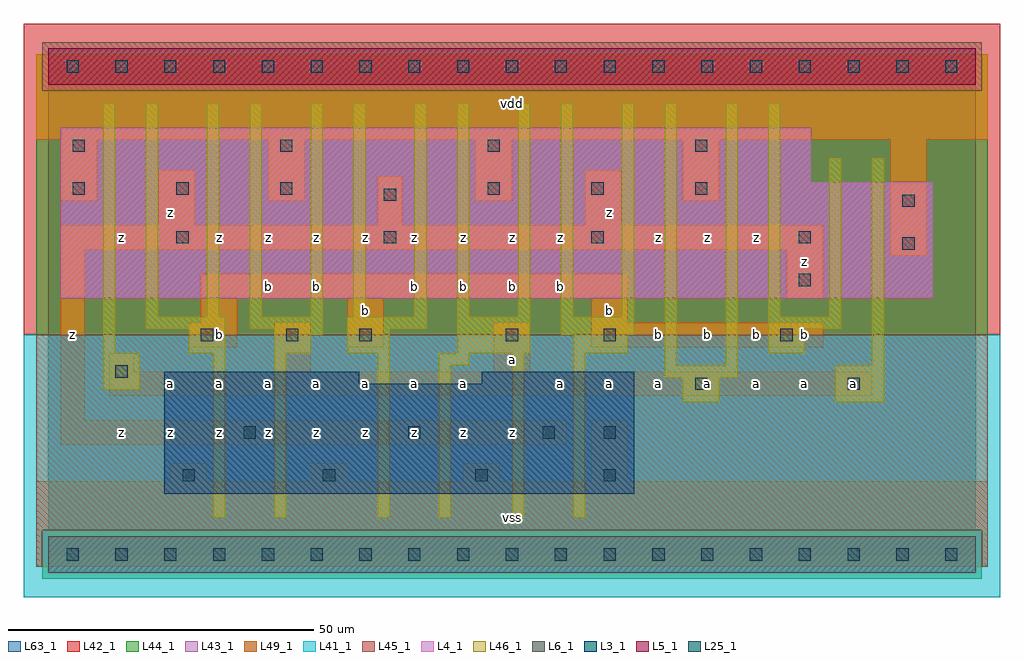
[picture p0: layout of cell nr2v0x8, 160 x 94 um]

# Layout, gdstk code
import gdstk
lib = gdstk.Library(unit=1e-6, precision=1e-09)
def R(c, l, rs):  # rectangles x0, y0, x1, y1
    for r in rs: c.add(gdstk.rectangle(r[:2], r[2:], *l))
def A(c, l, x, y, w, h, nx, ny, dx, dy):  # array of equal rectangles
    R(c, l, [(x+i*dx, y+j*dy, x+i*dx+w, y+j*dy+h) for i in range(nx) for j in range(ny)])
L3_1 = (3, 1)
L4_1 = (4, 1)
L5_1 = (5, 1)
L6_1 = (6, 1)
L25_1 = (25, 1)
L41_1 = (41, 1)
L42_1 = (42, 1)
L43_1 = (43, 1)
L44_1 = (44, 1)
L45_1 = (45, 1)
L46_1 = (46, 1)
L49_1 = (49, 1)
L63_1 = (63, 1)

nr2v0x8 = lib.new_cell('nr2v0x8')
R(nr2v0x8, L3_1, [(19,10,96,28), (19,28,51,30), (71,28,96,30)])
R(nr2v0x8, L4_1, [(2,42,145,61), (2,61,125,70)])
R(nr2v0x8, L5_1, [(0,77,152,83)])
R(nr2v0x8, L6_1, [(0,-3,152,3), (0,-3,152,3)])
A(nr2v0x8, L25_1, 3, -1, 2, 2, 19, 2, 8, 80)
A(nr2v0x8, L25_1, 21, 51, 2, 2, 4, 1, 34, 0)
A(nr2v0x8, L25_1, 4, 59, 2, 2, 3, 1, 17, 0)
A(nr2v0x8, L25_1, 72, 59, 2, 2, 3, 1, 17, 0)
A(nr2v0x8, L25_1, 4, 66, 2, 2, 4, 1, 34, 0)
R(nr2v0x8, L25_1, [(22,12,24,14), (45,12,47,14), (70,12,72,14), (91,12,93,14), (32,19,34,21), (59,19,61,21), (81,19,83,21), (91,19,93,21), (106,27,108,29), (131,27,133,29), (11,29,13,31), (25,35,27,37), (39,35,41,37), (51,35,53,37), (75,35,77,37), (91,35,93,37), (120,35,122,37), (123,44,125,46), (140,50,142,52), (140,57,142,59), (55,58,57,60)])
R(nr2v0x8, L41_1, [(-4,-7,156,36)])
R(nr2v0x8, L42_1, [(-4,36,156,87)])
R(nr2v0x8, L43_1, [(0,-3,152,3), (19,10,96,28), (19,28,51,30), (71,28,96,30), (2,42,145,61), (2,61,125,70), (0,77,152,83)])
R(nr2v0x8, L44_1, [(-1,-4,153,4), (-2,36,154,76), (-2,76,-1,82), (153,76,154,82)])
R(nr2v0x8, L45_1, [(-2,-2,-1,4), (153,-2,154,4), (-2,4,154,36), (-1,76,153,84)])
R(nr2v0x8, L46_1, [(27,6,29,33), (37,6,39,33), (54,6,56,33), (64,6,66,31), (76,6,78,33), (86,6,88,33), (104,25,110,29), (129,25,137,31), (9,27,15,33), (101,29,113,31), (64,31,69,33), (101,31,103,74), (111,31,113,74), (135,31,137,65), (9,33,11,74), (23,33,29,37), (37,33,43,36), (49,33,56,37), (67,33,79,39), (86,33,95,36), (118,33,124,37), (37,36,45,37), (84,36,96,39), (16,37,29,39), (33,37,45,39), (49,37,62,39), (118,37,130,39), (16,39,18,74), (26,39,28,74), (33,39,35,74), (43,39,45,74), (50,39,52,74), (60,39,62,74), (67,39,69,74), (77,39,79,74), (84,39,86,74), (94,39,96,74), (118,39,120,74), (128,39,130,65)])
A(nr2v0x8, L49_1, 2, 58, 6, 10, 4, 1, 34, 0)
R(nr2v0x8, L49_1, [(-2,-2,154,12), (20,12,26,15), (43,12,49,15), (68,12,74,15), (89,12,95,22), (2,18,85,22), (2,22,6,50), (10,26,135,30), (10,30,14,33), (37,30,43,38), (73,30,79,38), (23,34,31,38), (49,34,55,42), (89,34,127,38), (25,38,31,42), (89,38,95,42), (25,42,95,46), (121,42,127,50), (138,49,144,68), (2,50,127,54), (18,54,24,63), (54,54,58,62), (88,54,94,63), (-2,68,154,82)])
R(nr2v0x8, L63_1, [(0,0,152,80)])
nr2v0x8.add(gdstk.Label('z', (20,20), layer=49, texttype=1))
nr2v0x8.add(gdstk.Label('z', (12,20), layer=49, texttype=1))
nr2v0x8.add(gdstk.Label('a', (20,28), layer=49, texttype=1))
nr2v0x8.add(gdstk.Label('z', (4,36), layer=49, texttype=1))
nr2v0x8.add(gdstk.Label('z', (12,52), layer=49, texttype=1))
nr2v0x8.add(gdstk.Label('z', (20,56), layer=49, texttype=1))
nr2v0x8.add(gdstk.Label('z', (44,20), layer=49, texttype=1))
nr2v0x8.add(gdstk.Label('z', (36,20), layer=49, texttype=1))
nr2v0x8.add(gdstk.Label('z', (28,20), layer=49, texttype=1))
nr2v0x8.add(gdstk.Label('a', (28,28), layer=49, texttype=1))
nr2v0x8.add(gdstk.Label('a', (36,28), layer=49, texttype=1))
nr2v0x8.add(gdstk.Label('a', (44,28), layer=49, texttype=1))
nr2v0x8.add(gdstk.Label('b', (28,36), layer=49, texttype=1))
nr2v0x8.add(gdstk.Label('b', (36,44), layer=49, texttype=1))
nr2v0x8.add(gdstk.Label('b', (44,44), layer=49, texttype=1))
nr2v0x8.add(gdstk.Label('z', (28,52), layer=49, texttype=1))
nr2v0x8.add(gdstk.Label('z', (36,52), layer=49, texttype=1))
nr2v0x8.add(gdstk.Label('z', (44,52), layer=49, texttype=1))
nr2v0x8.add(gdstk.Label('z', (52,20), layer=49, texttype=1))
nr2v0x8.add(gdstk.Label('z', (68,20), layer=49, texttype=1))
nr2v0x8.add(gdstk.Label('z', (60,20), layer=49, texttype=1))
nr2v0x8.add(gdstk.Label('a', (60,28), layer=49, texttype=1))
nr2v0x8.add(gdstk.Label('a', (68,28), layer=49, texttype=1))
nr2v0x8.add(gdstk.Label('a', (52,28), layer=49, texttype=1))
nr2v0x8.add(gdstk.Label('b', (60,44), layer=49, texttype=1))
nr2v0x8.add(gdstk.Label('b', (68,44), layer=49, texttype=1))
nr2v0x8.add(gdstk.Label('b', (52,40), layer=49, texttype=1))
nr2v0x8.add(gdstk.Label('z', (52,52), layer=49, texttype=1))
nr2v0x8.add(gdstk.Label('z', (60,52), layer=49, texttype=1))
nr2v0x8.add(gdstk.Label('z', (68,52), layer=49, texttype=1))
nr2v0x8.add(gdstk.Label('vss', (76,6), layer=49, texttype=1))
nr2v0x8.add(gdstk.Label('z', (76,20), layer=49, texttype=1))
nr2v0x8.add(gdstk.Label('a', (84,28), layer=49, texttype=1))
nr2v0x8.add(gdstk.Label('a', (92,28), layer=49, texttype=1))
nr2v0x8.add(gdstk.Label('a', (100,28), layer=49, texttype=1))
nr2v0x8.add(gdstk.Label('a', (76,32), layer=49, texttype=1))
nr2v0x8.add(gdstk.Label('b', (100,36), layer=49, texttype=1))
nr2v0x8.add(gdstk.Label('b', (84,44), layer=49, texttype=1))
nr2v0x8.add(gdstk.Label('b', (92,40), layer=49, texttype=1))
nr2v0x8.add(gdstk.Label('b', (76,44), layer=49, texttype=1))
nr2v0x8.add(gdstk.Label('z', (76,52), layer=49, texttype=1))
nr2v0x8.add(gdstk.Label('z', (100,52), layer=49, texttype=1))
nr2v0x8.add(gdstk.Label('z', (84,52), layer=49, texttype=1))
nr2v0x8.add(gdstk.Label('z', (92,56), layer=49, texttype=1))
nr2v0x8.add(gdstk.Label('vdd', (76,74), layer=49, texttype=1))
nr2v0x8.add(gdstk.Label('a', (108,28), layer=49, texttype=1))
nr2v0x8.add(gdstk.Label('a', (116,28), layer=49, texttype=1))
nr2v0x8.add(gdstk.Label('a', (124,28), layer=49, texttype=1))
nr2v0x8.add(gdstk.Label('b', (124,36), layer=49, texttype=1))
nr2v0x8.add(gdstk.Label('b', (116,36), layer=49, texttype=1))
nr2v0x8.add(gdstk.Label('b', (108,36), layer=49, texttype=1))
nr2v0x8.add(gdstk.Label('z', (124,48), layer=49, texttype=1))
nr2v0x8.add(gdstk.Label('z', (108,52), layer=49, texttype=1))
nr2v0x8.add(gdstk.Label('z', (116,52), layer=49, texttype=1))
nr2v0x8.add(gdstk.Label('a', (132,28), layer=49, texttype=1))

lib.write_gds('nr2v0x8.gds')
